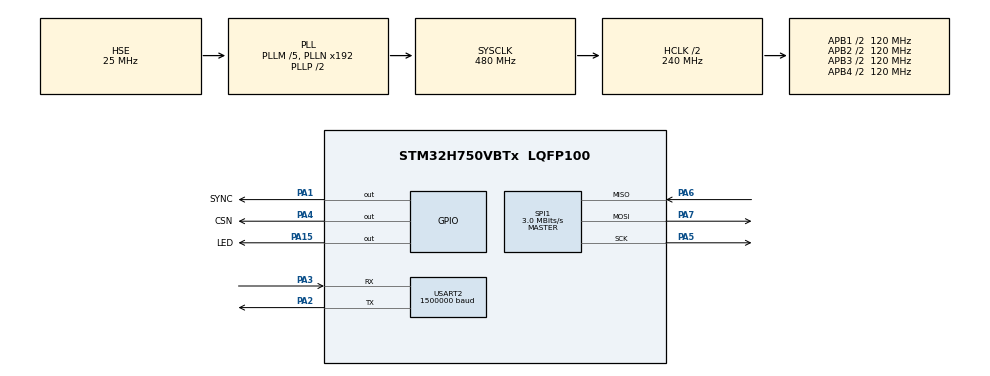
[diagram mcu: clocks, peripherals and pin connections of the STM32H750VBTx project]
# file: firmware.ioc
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CORTEX_M7.CPU_ICache=Disabled
Mcu.Family=STM32H7
Mcu.Name=STM32H750VBTx
Mcu.Package=LQFP100
NVIC.PriorityGroup=NVIC_PRIORITYGROUP_4
NVIC.TIM4_IRQn=true\:0\:0\:false\:false\:true\:true\:true\:true
NVIC.USART2_IRQn=true\:0\:0\:false\:false\:true\:true\:true\:true
PA1.GPIO_Label=SYNC
PA1.GPIO_Speed=GPIO_SPEED_FREQ_MEDIUM
PA1.PinState=GPIO_PIN_SET
PA1.Signal=GPIO_Output
PA13\ (JTMS/SWDIO).Mode=Serial_Wire
PA13\ (JTMS/SWDIO).Signal=DEBUG_JTMS-SWDIO
PA14\ (JTCK/SWCLK).Mode=Serial_Wire
PA14\ (JTCK/SWCLK).Signal=DEBUG_JTCK-SWCLK
PA15\ (JTDI).GPIO_Label=LED
PA15\ (JTDI).GPIO_Speed=GPIO_SPEED_FREQ_MEDIUM
PA15\ (JTDI).Signal=GPIO_Output
PA2.Mode=Asynchronous
PA2.Signal=USART2_TX
PA3.Mode=Asynchronous
PA3.Signal=USART2_RX
PA4.GPIO_Label=CSN
PA4.GPIO_Speed=GPIO_SPEED_FREQ_MEDIUM
PA4.PinState=GPIO_PIN_SET
PA4.Signal=GPIO_Output
PA5.GPIO_Speed=GPIO_SPEED_FREQ_MEDIUM
PA5.Mode=Full_Duplex_Master
PA5.Signal=SPI1_SCK
PA6.GPIO_Speed=GPIO_SPEED_FREQ_MEDIUM
PA6.Mode=Full_Duplex_Master
PA6.Signal=SPI1_MISO
PA7.GPIO_Speed=GPIO_SPEED_FREQ_MEDIUM
PA7.Mode=Full_Duplex_Master
PA7.Signal=SPI1_MOSI
PC14-OSC32_IN\ (OSC32_IN).Mode=LSE-External-Oscillator
PC14-OSC32_IN\ (OSC32_IN).Signal=RCC_OSC32_IN
PC15-OSC32_OUT\ (OSC32_OUT).Mode=LSE-External-Oscillator
PC15-OSC32_OUT\ (OSC32_OUT).Signal=RCC_OSC32_OUT
PH0-OSC_IN\ (PH0).Mode=HSE-External-Oscillator
PH0-OSC_IN\ (PH0).Signal=RCC_OSC_IN
PH1-OSC_OUT\ (PH1).Mode=HSE-External-Oscillator
PH1-OSC_OUT\ (PH1).Signal=RCC_OSC_OUT
ProjectManager.HeapSize=0x200
ProjectManager.StackSize=0x400
ProjectManager.TargetToolchain=MDK-ARM V5.32
RCC.ADCFreq_Value=50390625
RCC.APB1Freq_Value=120000000
RCC.APB2Freq_Value=120000000
RCC.APB3Freq_Value=120000000
RCC.APB4Freq_Value=120000000
RCC.CortexFreq_Value=480000000
RCC.D1PPRE=RCC_APB3_DIV2
RCC.D2PPRE1=RCC_APB1_DIV2
RCC.D2PPRE2=RCC_APB2_DIV2
RCC.D3PPRE=RCC_APB4_DIV2
RCC.DIVM1=5
RCC.DIVM3=2
RCC.DIVN1=192
RCC.DIVN3=12
RCC.DIVQ1=5
RCC.DIVQ3=3
RCC.HCLKFreq_Value=240000000
RCC.HPRE=RCC_HCLK_DIV2
RCC.PLL2FRACN=0
RCC.PLL3FRACN=0
RCC.PLLFRACN=0
RCC.PLLSourceVirtual=RCC_PLLSOURCE_HSE
RCC.PWR_Regulator_Voltage_Scale=PWR_REGULATOR_VOLTAGE_SCALE0
RCC.ProductRev=revV
RCC.SYSCLKFreq_VALUE=480000000
RCC.SYSCLKSource=RCC_SYSCLKSOURCE_PLLCLK
RCC.USBCLockSelection=RCC_USBCLKSOURCE_HSI48
RCC.USBFreq_Value=48000000
SPI1.BaudRatePrescaler=SPI_BAUDRATEPRESCALER_64
SPI1.CLKPhase=SPI_PHASE_2EDGE
SPI1.CLKPolarity=SPI_POLARITY_HIGH
SPI1.CalculateBaudRate=3.0 MBits/s
SPI1.DataSize=SPI_DATASIZE_8BIT
SPI1.Direction=SPI_DIRECTION_2LINES
SPI1.MasterKeepIOState=SPI_MASTER_KEEP_IO_STATE_ENABLE
SPI1.Mode=SPI_MODE_MASTER
SPI1.NSSPMode=SPI_NSS_PULSE_DISABLE
SPI1.NSSPolarity=SPI_NSS_POLARITY_LOW
SPI1.VirtualType=VM_MASTER
TIM4.AutoReloadPreload=TIM_AUTORELOAD_PRELOAD_ENABLE
TIM4.Period=65535
TIM4.Prescaler=239
USART2.BaudRate=1500000
USART2.VirtualMode-Asynchronous=VM_ASYNC
VP_TIM4_VS_ClockSourceINT.Mode=Internal
board=custom

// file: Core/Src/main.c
/* USER CODE BEGIN Header */
/**
  ******************************************************************************
  * @file           : main.c
  * @brief          : Main program body
  ******************************************************************************
  * @attention
  *
  * Copyright (c) 2023 STMicroelectronics.
  * All rights reserved.
  *
  * This software is licensed under terms that can be found in the LICENSE file
  * in the root directory of this software component.
  * If no LICENSE file comes with this software, it is provided AS-IS.
  *
  ******************************************************************************
  */
/* USER CODE END Header */
#include "main.h"
#include "spi.h"
#include "tim.h"
#include "usart.h"
#include "gpio.h"

/* USER CODE BEGIN Includes */
#include "lha7668.h"
#include "lha7668_seq16_test.h"
#include "lha7668_seq15_test.h"
#include "lha7668_1CH-CONT_test.h"
/* USER CODE END Includes */

/* USER CODE BEGIN PD */
#define LHA7668_TEST_MODE_DIFF1    0
#define LHA7668_TEST_MODE_SEQ16    1
#define LHA7668_TEST_MODE_SEQ15    2
#define LHA7668_TEST_MODE_1CH_CONT 3

#define LHA7668_TEST_MODE          LHA7668_TEST_MODE_SEQ15
/* USER CODE END PD */

/* USER CODE BEGIN PV */
volatile uint8_t falg_data_ready = 0;
/* USER CODE END PV */

void SystemClock_Config(void);

/* USER CODE BEGIN 0 */

int fputc(int ch, FILE *f)
{
    HAL_UART_Transmit(&huart2, (uint8_t *)&ch, 1, 2);
    return ch;
}

void delay_us(uint16_t us)
{
  __HAL_TIM_SET_COUNTER(&htim4, 0);
  HAL_TIM_Base_Start(&htim4);
  while (__HAL_TIM_GET_COUNTER(&htim4) < us);
  HAL_TIM_Base_Stop(&htim4);
}

/* USER CODE END 0 */

int main(void)
{
  /* USER CODE BEGIN 1 */
#if (LHA7668_TEST_MODE == LHA7668_TEST_MODE_DIFF1)
	uint32_t adc_data;
	float volt_mv;
#endif
  /* USER CODE END 1 */

  /* MCU Configuration--------------------------------------------------------*/

  /* Reset of all peripherals, Initializes the Flash interface and the Systick. */
  HAL_Init();

  /* Configure the system clock */
  SystemClock_Config();

  /* Initialize all configured peripherals */
  MX_GPIO_Init();
  MX_USART2_UART_Init();
  MX_TIM4_Init();
  MX_SPI1_Init();
  /* USER CODE BEGIN 2 */
	printf("firmware start\r\n");
  /* Initialize device */
#if (LHA7668_TEST_MODE == LHA7668_TEST_MODE_1CH_CONT)
  lha7668_1ChContTest_Init();
#elif (LHA7668_TEST_MODE == LHA7668_TEST_MODE_SEQ15)
  lha7668_Seq15Test_Init();
#elif (LHA7668_TEST_MODE == LHA7668_TEST_MODE_SEQ16)
  lha7668_Seq16Test_Init();
#else
  lha7668_Init();
#endif
	//miso set to gpio int
	miso_int_init();
	CSN_LOW;   //CS low, wait for drdy
  /* USER CODE END 2 */

  /* Infinite loop */
  while (1)
  {

    /* USER CODE BEGIN 3 */
#if (LHA7668_TEST_MODE == LHA7668_TEST_MODE_1CH_CONT)
		lha7668_1ChContTest_ProcessSample();
#elif (LHA7668_TEST_MODE == LHA7668_TEST_MODE_SEQ15)
		lha7668_Seq15Test_ProcessSample();
#elif (LHA7668_TEST_MODE == LHA7668_TEST_MODE_SEQ16)
		lha7668_Seq16Test_ProcessSample();
#else
		if(falg_data_ready)
		{
			falg_data_ready=0;
			//miso set to spi
			miso_spi_init();
			//read adc data
			adc_data = lha7668_ReadData();
			volt_mv = lha7668_CodeToVoltage(adc_data,2500,0x1,0x1);
			printf("0x%x,%f\r\n",adc_data,volt_mv);
			//miso set to gpio int
			miso_int_init();
			CSN_LOW;   //CS low, wait for drdy
		}
#endif
  }
  /* USER CODE END 3 */
}

void SystemClock_Config(void)
{
  RCC_OscInitTypeDef RCC_OscInitStruct = {0};
  RCC_ClkInitTypeDef RCC_ClkInitStruct = {0};

  /** Supply configuration update enable
  */
  HAL_PWREx_ConfigSupply(PWR_LDO_SUPPLY);

  /** Configure the main internal regulator output voltage
  */
  __HAL_PWR_VOLTAGESCALING_CONFIG(PWR_REGULATOR_VOLTAGE_SCALE1);

  while(!__HAL_PWR_GET_FLAG(PWR_FLAG_VOSRDY)) {}

  __HAL_RCC_SYSCFG_CLK_ENABLE();
  __HAL_PWR_VOLTAGESCALING_CONFIG(PWR_REGULATOR_VOLTAGE_SCALE0);

  while(!__HAL_PWR_GET_FLAG(PWR_FLAG_VOSRDY)) {}

  /** Initializes the RCC Oscillators according to the specified parameters
  * in the RCC_OscInitTypeDef structure.
  */
  RCC_OscInitStruct.OscillatorType = RCC_OSCILLATORTYPE_HSE;
  RCC_OscInitStruct.HSEState = RCC_HSE_ON;
  RCC_OscInitStruct.PLL.PLLState = RCC_PLL_ON;
  RCC_OscInitStruct.PLL.PLLSource = RCC_PLLSOURCE_HSE;
  RCC_OscInitStruct.PLL.PLLM = 5;
  RCC_OscInitStruct.PLL.PLLN = 192;
  RCC_OscInitStruct.PLL.PLLP = 2;
  RCC_OscInitStruct.PLL.PLLQ = 5;
  RCC_OscInitStruct.PLL.PLLR = 2;
  RCC_OscInitStruct.PLL.PLLRGE = RCC_PLL1VCIRANGE_2;
  RCC_OscInitStruct.PLL.PLLVCOSEL = RCC_PLL1VCOWIDE;
  RCC_OscInitStruct.PLL.PLLFRACN = 0;
  if (HAL_RCC_OscConfig(&RCC_OscInitStruct) != HAL_OK)
  {
    Error_Handler();
  }

  /** Initializes the CPU, AHB and APB buses clocks
  */
  RCC_ClkInitStruct.ClockType = RCC_CLOCKTYPE_HCLK|RCC_CLOCKTYPE_SYSCLK
                              |RCC_CLOCKTYPE_PCLK1|RCC_CLOCKTYPE_PCLK2
                              |RCC_CLOCKTYPE_D3PCLK1|RCC_CLOCKTYPE_D1PCLK1;
  RCC_ClkInitStruct.SYSCLKSource = RCC_SYSCLKSOURCE_PLLCLK;
  RCC_ClkInitStruct.SYSCLKDivider = RCC_SYSCLK_DIV1;
  RCC_ClkInitStruct.AHBCLKDivider = RCC_HCLK_DIV2;
  RCC_ClkInitStruct.APB3CLKDivider = RCC_APB3_DIV2;
  RCC_ClkInitStruct.APB1CLKDivider = RCC_APB1_DIV2;
  RCC_ClkInitStruct.APB2CLKDivider = RCC_APB2_DIV2;
  RCC_ClkInitStruct.APB4CLKDivider = RCC_APB4_DIV2;

  if (HAL_RCC_ClockConfig(&RCC_ClkInitStruct, FLASH_LATENCY_4) != HAL_OK)
  {
    Error_Handler();
  }
}

void Error_Handler(void)
{
  __disable_irq();
  while (1)
  {
  }
}
